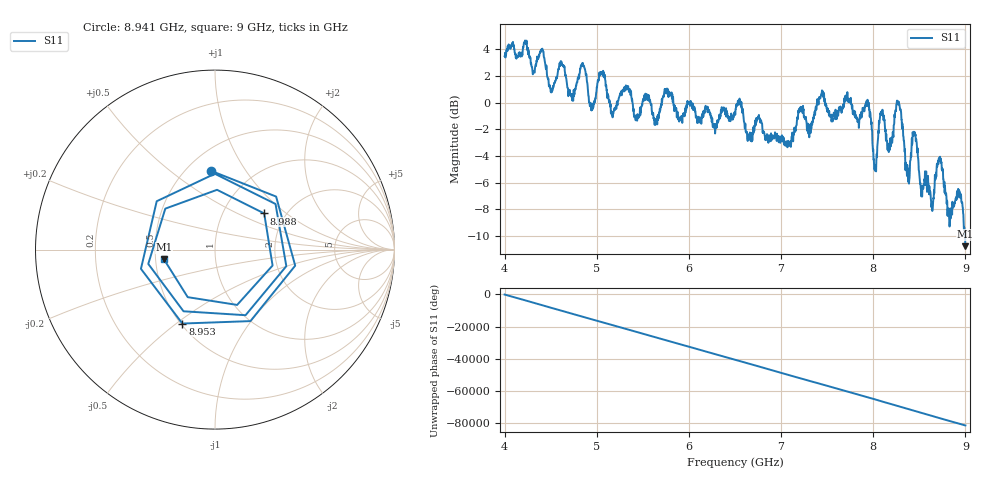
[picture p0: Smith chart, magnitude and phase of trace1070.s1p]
! Created with skrf 1.8.0 (http://scikit-rf.org).
# Hz S RI R 50.0
!freq ReS11 ImS11
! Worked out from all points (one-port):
!   1601 points, 4 GHz to 9 GHz, reference 50 ohm
!   lowest |S11| = -10.8 dB at 9 GHz (marker M1), VSWR 1.81, Z = 27.7 - j3.3 ohm
!   |S11| at or under -10 dB: 8.995755 GHz to end of sweep
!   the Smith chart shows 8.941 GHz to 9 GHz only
!   S11 on the Smith chart (normalised r, x): 8.941 GHz: 0.65, +0.71; 8.953 GHz: 0.51, -0.53; 8.988 GHz: 1.56, +0.71; 9 GHz: 0.55, -0.07
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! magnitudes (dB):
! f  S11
! 4 GHz  3.5
! 4.403 GHz  4.0
! 4.506 GHz  0.8
! 4.625 GHz  2.8
! 4.722 GHz  0.5
! 4.844 GHz  2.9
! 4.941 GHz  -0.4
! 5.053 GHz  2.2
! 5.25 GHz  0.6
! 5.875 GHz  -0.7
! 6.5 GHz  -0.7
! 7.125 GHz  -2.7
! 7.75 GHz  0.2
! 7.944 GHz  0.0
! 8.019 GHz  -4.7
! 8.084 GHz  -0.7
! 8.181 GHz  -3.3
! 8.275 GHz  -0.1
! 8.375 GHz  -5.3
! 8.444 GHz  -2.3
! 8.528 GHz  -7.0
! 8.638 GHz  -7.5
! 8.716 GHz  -4.1
! 8.831 GHz  -9.0
! 8.941 GHz  -7.1
! 8.953 GHz  -6.9
! 8.988 GHz  -9.4
! 9 GHz  -10.8
